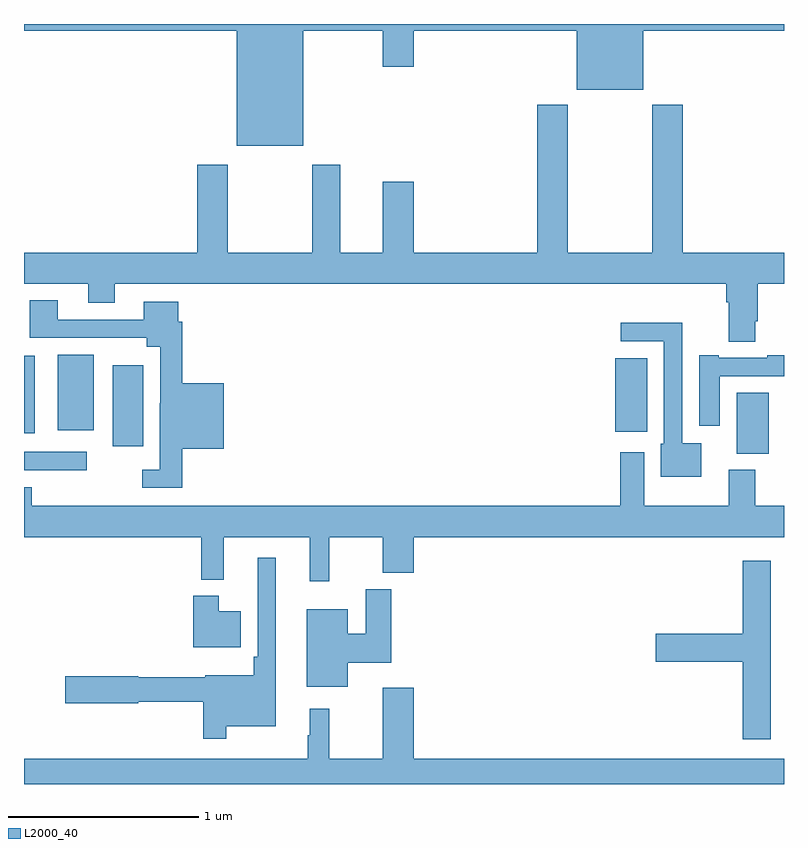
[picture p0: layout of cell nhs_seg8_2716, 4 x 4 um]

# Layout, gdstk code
import gdstk
lib = gdstk.Library(unit=1e-6, precision=1e-09)
def R(c, l, rs):  # rectangles x0, y0, x1, y1
    for r in rs: c.add(gdstk.rectangle(r[:2], r[2:], *l))
def P(c, l, *ps):  # polygons
    for p in ps: c.add(gdstk.Polygon(p, *l))
L2000_40 = (2000, 40)

nhs_seg8_2716 = lib.new_cell('nhs_seg8_2716')
R(nhs_seg8_2716, L2000_40, [(283,1083.552,283.33,1083.648), (286.751,1083.638,286.921,1083.958), (283.466,1083.678,283.627,1084.105), (283,1083.746,283.057,1084.153), (286.112,1083.755,286.279,1084.141), (283.178,1083.761,283.366,1084.159)])
P(nhs_seg8_2716, L2000_40, [(284.47,1085.864),(284.888,1085.864),(284.888,1085.676),(285.052,1085.676),(285.052,1085.864),(285.908,1085.864),(285.908,1085.555),(286.258,1085.555),(286.258,1085.864),(287,1085.864),(287,1085.9),(283,1085.9),(283,1085.864),(284.12,1085.864),(284.12,1085.258),(284.47,1085.258)],
  [(284.888,1085.071),(284.888,1084.696),(284.665,1084.696),(284.665,1085.158),(284.518,1085.158),(284.518,1084.696),(284.073,1084.696),(284.073,1085.158),(283.913,1085.158),(283.913,1084.696),(283,1084.696),(283,1084.532),(283.337,1084.532),(283.337,1084.433),(283.477,1084.433),(283.477,1084.532),(286.697,1084.532),(286.697,1084.436),(286.709,1084.436),(286.709,1084.228),(286.849,1084.228),(286.849,1084.336),(286.862,1084.336),(286.862,1084.532),(287,1084.532),(287,1084.696),(286.466,1084.696),(286.466,1085.476),(286.306,1085.476),(286.306,1084.696),(285.861,1084.696),(285.861,1085.476),(285.701,1085.476),(285.701,1084.696),(285.052,1084.696),(285.052,1085.071)],
  [(283.832,1083.665),(284.05,1083.665),(284.05,1084.009),(283.832,1084.009),(283.832,1084.334),(283.813,1084.334),(283.813,1084.438),(283.631,1084.438),(283.631,1084.344),(283.177,1084.344),(283.177,1084.447),(283.03,1084.447),(283.03,1084.248),(283.646,1084.248),(283.646,1084.202),(283.716,1084.202),(283.716,1083.905),(283.715,1083.905),(283.715,1083.555),(283.623,1083.555),(283.623,1083.459),(283.832,1083.459)],
  [(286.564,1083.694),(286.464,1083.694),(286.464,1084.328),(286.14,1084.328),(286.14,1084.23),(286.368,1084.23),(286.368,1083.69),(286.352,1083.69),(286.352,1083.518),(286.564,1083.518)],
  [(286.663,1084.047),(287,1084.047),(287,1084.156),(286.913,1084.156),(286.913,1084.143),(286.657,1084.143),(286.657,1084.156),(286.553,1084.156),(286.553,1083.786),(286.663,1083.786)],
  [(284.606,1083.2),(284.888,1083.2),(284.888,1083.012),(285.052,1083.012),(285.052,1083.2),(287,1083.2),(287,1083.364),(286.849,1083.364),(286.849,1083.553),(286.709,1083.553),(286.709,1083.364),(286.264,1083.364),(286.264,1083.646),(286.139,1083.646),(286.139,1083.364),(283.04,1083.364),(283.04,1083.463),(283,1083.463),(283,1083.2),(283.933,1083.2),(283.933,1082.975),(284.051,1082.975),(284.051,1083.2),(284.504,1083.2),(284.504,1082.967),(284.606,1082.967)],
  [(284.065,1082.204),(284.326,1082.204),(284.326,1083.091),(284.229,1083.091),(284.229,1082.569),(284.209,1082.569),(284.209,1082.473),(283.955,1082.473),(283.955,1082.462),(283.602,1082.462),(283.602,1082.468),(283.218,1082.468),(283.218,1082.326),(283.602,1082.326),(283.602,1082.334),(283.944,1082.334),(283.944,1082.139),(284.065,1082.139)],
  [(286.93,1083.076),(286.784,1083.076),(286.784,1082.69),(286.326,1082.69),(286.326,1082.543),(286.784,1082.543),(286.784,1082.136),(286.93,1082.136)],
  [(284.704,1082.537),(284.933,1082.537),(284.933,1082.926),(284.798,1082.926),(284.798,1082.69),(284.704,1082.69),(284.704,1082.821),(284.489,1082.821),(284.489,1082.411),(284.704,1082.411)],
  [(284.14,1082.809),(284.026,1082.809),(284.026,1082.89),(283.892,1082.89),(283.892,1082.621),(284.14,1082.621)],
  [(287,1082.032),(285.052,1082.032),(285.052,1082.407),(284.888,1082.407),(284.888,1082.032),(284.606,1082.032),(284.606,1082.296),(284.504,1082.296),(284.504,1082.156),(284.493,1082.156),(284.493,1082.032),(283,1082.032),(283,1081.9),(287,1081.9)])

lib.write_gds('nhs_seg8_2716.gds')
